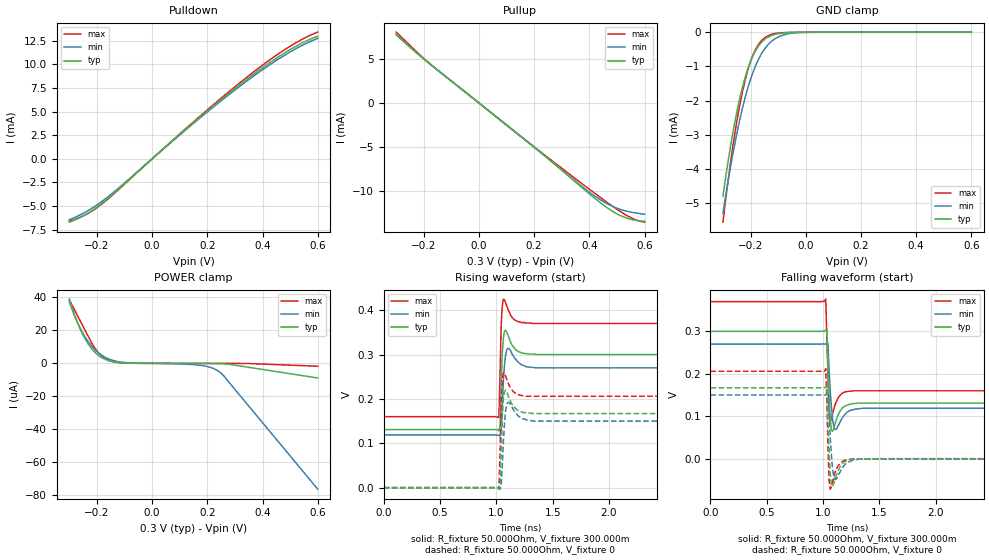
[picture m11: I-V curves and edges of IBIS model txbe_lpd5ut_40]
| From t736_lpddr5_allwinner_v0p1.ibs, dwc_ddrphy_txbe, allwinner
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[Model] txbe_lpd5ut_40
Model_type   I/O
Polarity   Non-Inverting
Enable   Active-High
C_comp   1.465pF   1.447pF   1.47pF
C_comp_pullup   292.671fF   276.014fF   308.304fF
C_comp_pulldown   1.11pF   1.062pF   1.125pF
Vinh = 310.000mV
Vinl = 190.000mV
Vmeas = 250.000mV
Vref = 250.000mV
Rref = 50Ohms
Cref = 0pF
[Model Spec]
Vinh   310.000mV   295.000mV   345.000mV
Vinl   190.000mV   175.000mV   225.000mV
Vmeas   250.000mV   235.000mV   285.000mV
Vref   250.000mV   235.000mV   285.000mV
D_overshoot_ampl_h 0.1 NA   NA
D_overshoot_ampl_l 0.1 NA   NA
D_overshoot_area_l 300.000m NA   NA
D_overshoot_area_h 300.000m NA   NA
[Receiver Thresholds]
Vth = 125.000mV
Vth_min = 118.000mV
Vth_max = 143.000mV
Vinh_ac = 60.000mV
Vinh_dc = 60.000mV
Vinl_ac = -60.000mV
Vinl_dc = -60.000mV
Tslew_ac = 5.000ns
Threshold_sensitivity = 0.5
Reference_supply Pullup_ref
[Temperature Range]   25.000   125.000   -40.000
[Voltage Range]   300.000mV   270.000mV   370.000mV
[GND Clamp Reference]   0.00V   0.00V   0.00V
[C Comp Corner]
| variable   typ   min   max
C_comp   1.465pF   1.447pF   1.47pF
C_comp_pullup   292.671fF   276.014fF   308.304fF
C_comp_pulldown   1.11pF   1.062pF   1.125pF
[Pulldown Reference]   0.00V   0.00V   0.00V
[POWER Clamp Reference]   300.000mV   270.000mV   370.000mV
[Pullup Reference]   300.000mV   270.000mV   370.000mV
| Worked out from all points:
|   slope of the pulldown table from 0 to 0.045 V, typ, clamps not added: 38.4 ohm
|   slope of the pullup table from 0 to 0.045 V, typ, clamps not added: 39.9 ohm
|   GND clamp passes 1 mA (typ) near -0.21 V on its own axis
|   rising waveform, R_fixture 50.000Ohm, V_fixture 300.000m: 20-80 % time 12ps typ, 15.7ps min, 12.1ps max; typ from 0.131 V to 0.3 V
|   rising waveform, R_fixture 50.000Ohm, V_fixture 0: 20-80 % time 13.1ps typ, 17.8ps min, 12.4ps max; typ from 0 V to 0.167 V
|   falling waveform, R_fixture 50.000Ohm, V_fixture 300.000m: 20-80 % time 13.5ps typ, 17.8ps min, 13.2ps max; typ from 0.3 V to 0.131 V
|   falling waveform, R_fixture 50.000Ohm, V_fixture 0: 20-80 % time 13.5ps typ, 18.2ps min, 12.4ps max; typ from 0.167 V to 0 V
[GND Clamp]
-300mV    -4.812mA   -5.313mA   -5.568mA
-280mV    -3.723mA   -4.303mA   -4.27mA
-260mV    -2.773mA   -3.397mA   -3.135mA
-250mV    -2.355mA   -2.986mA   -2.634mA
-230mV    -1.636mA   -2.253mA   -1.776mA
-210mV    -1.074mA   -1.641mA   -1.114mA
-190mV    -665.6uA   -1.15mA    -643.3uA
-170mV    -388.7uA   -773.4uA   -340.8uA
-150mV    -215.3uA   -499.1uA   -167.1uA
-100mV    -40.84uA   -138.2uA   -22.34uA
-40mV     -3.47uA    -16.77uA   -1.319uA
600mV     803.1nA    6.382uA    219.4nA
[Power Clamp]
-300mV    39.01uA    37.38uA    38.53uA
-270mV    24.51uA    24.61uA    28.81uA
-230mV    11.35uA    12.74uA    15.86uA
-210mV    7.144uA    8.699uA    9.855uA
-190mV    4.241uA    5.727uA    5.658uA
-140mV    907.9nA    1.683uA    968.8nA
-80mV     102.5nA    262.4nA    71.28nA
160mV     -68.85nA   -928.4nA   -17.64nA
210mV     -125.3nA   -2.412uA   -22.8nA
240mV     -217.7nA   -4.727uA   -26.46nA
260mV     -349.4nA   -7.648uA   -29.76nA
600mV     -8.9uA     -76.37uA   -1.755uA
[Pulldown]
-300mV    -6.719mA   -6.457mA   -6.6mA
-240mV    -5.892mA   -5.621mA   -5.911mA
-210mV    -5.329mA   -5.086mA   -5.39mA
-180mV    -4.669mA   -4.473mA   -4.748mA
-120mV    -3.162mA   -3.065mA   -3.222mA
150mV     3.84mA     3.762mA    3.923mA
260mV     6.516mA    6.379mA    6.674mA
360mV     8.797mA    8.605mA    9.035mA
440mV     10.47mA    10.23mA    10.78mA
490mV     11.41mA    11.15mA    11.76mA
550mV     12.37mA    12.13mA    12.77mA
600mV     13mA       12.77mA    13.43mA
[Pullup]
-300mV    7.857mA    7.755mA    8.052mA
-230mV    5.794mA    5.818mA    5.947mA
-150mV    3.717mA    3.747mA    3.744mA
190mV     -4.778mA   -4.762mA   -4.749mA
410mV     -10.59mA   -10.38mA   -10.04mA
460mV     -11.8mA    -11.37mA   -11.2mA
510mV     -12.77mA   -12.08mA   -12.3mA
560mV     -13.3mA    -12.46mA   -13.18mA
600mV     -13.43mA   -12.66mA   -13.55mA
[Ramp]
R_load=50.000Ohm
dV/dt_r   100.793mV/12.500ps  90.236mV/17.000ps  124.798mV/10.500ps
dV/dt_f   100.793mV/13.500ps  90.236mV/18.500ps  124.798mV/11.500ps
[Rising waveform]
R_fixture=50.000Ohm
V_fixture=300.000m
V_fixture_min=270.000m
V_fixture_max=370.000m
0s        131mV      119mV      160mV
1.023ns   128mV      118mV      158mV
1.033ns   140mV      116mV      257mV
1.043ns   235mV      127mV      366mV
1.063ns   338mV      243mV      425mV
1.083ns   355mV      300mV      416mV
1.103ns   344mV      314mV      402mV
1.193ns   307mV      283mV      374mV
1.343ns   301mV      270mV      370mV
10ns      300mV      270mV      370mV
[Rising waveform]
R_fixture=50.000Ohm
V_fixture=0
0s        24.07uV    212.9uV    5.491uV
1.023ns   -3.346mV   -915.5uV   -2.855mV
1.033ns   5.549mV    -3.12mV    79.98mV
1.043ns   85.22mV    4.412mV    190mV
1.053ns   158mV      49.51mV    245mV
1.063ns   202mV      105mV      259mV
1.083ns   220mV      175mV      251mV
1.103ns   209mV      192mV      237mV
1.323ns   167mV      151mV      206mV
10ns      167mV      150mV      206mV
[Falling waveform]
R_fixture=50.000Ohm
V_fixture=300.000m
V_fixture_min=270.000m
V_fixture_max=370.000m
0s        300mV      270mV      370mV
1.023ns   303mV      270mV      376mV
1.033ns   303mV      273mV      286mV
1.043ns   209mV      272mV      188mV
1.053ns   149mV      211mV      111mV
1.063ns   95.07mV    160mV      88.57mV
1.083ns   64.29mV    94.83mV    104mV
1.113ns   88.14mV    68.79mV    132mV
1.353ns   131mV      119mV      160mV
10ns      131mV      119mV      160mV
[Falling waveform]
R_fixture=50.000Ohm
V_fixture=0
0s        167mV      150mV      206mV
1.023ns   169mV      150mV      212mV
1.033ns   171mV      153mV      137mV
1.043ns   89.99mV    153mV      26.91mV
1.053ns   20.26mV    105mV      -49.89mV
1.063ns   -34.53mV   50.18mV    -71.61mV
1.083ns   -65.63mV   -21.73mV   -55.81mV
1.113ns   -42.04mV   -48.45mV   -27.36mV
1.373ns   -184.8uV   -201.3uV   -99.79uV
10ns      24.88uV    212.9uV    5.754uV
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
